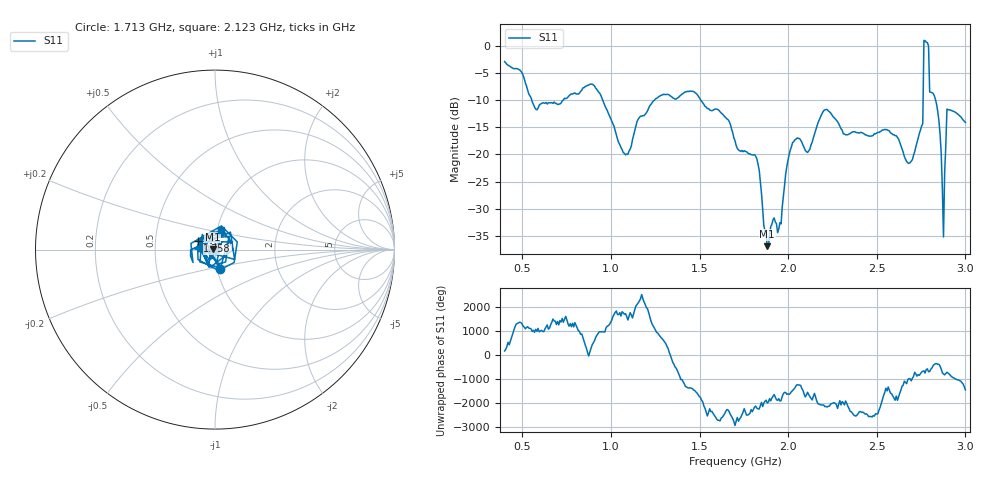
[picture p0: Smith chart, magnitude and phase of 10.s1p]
!Created with skrf (http://scikit-rf.org).
# Hz S RI R 50.0
!freq ReS11 ImS11
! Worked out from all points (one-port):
!   401 points, 400 MHz to 3 GHz, reference 50 ohm
!   lowest |S11| = -36.9 dB at 1.882 GHz (marker M1), VSWR 1.03, Z = 48.6 + j0.338 ohm
!   |S11| at or under -10 dB: 553.4 MHz to 729.4 MHz (176 MHz wide, 27.4 % of centre); 953.8 MHz to 1.244 GHz (290.6 MHz wide, 26.4 % of centre); 1.508 GHz to 2.761 GHz (1.254 GHz wide, 58.7 % of centre) (the widest 3 of 4)
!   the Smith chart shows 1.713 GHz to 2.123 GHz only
!   S11 on the Smith chart (normalised r, x): 1.713 GHz: 1.03, -0.23; 1.758 GHz: 0.82, +0.08; 2.123 GHz: 1.04, +0.23
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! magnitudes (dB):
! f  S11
! 400 MHz  -2.9
! 575.5 MHz  -11.6
! 725 MHz  -10.1
! 900.5 MHz  -7.2
! 1.05 GHz  -18.2
! 1.095 GHz  -20.0
! 1.258 GHz  -9.6
! 1.375 GHz  -9.6
! 1.472 GHz  -8.5
! 1.7 GHz  -17.5
! 1.713 GHz  -18.9
! 1.758 GHz  -19.4
! 1.823 GHz  -20.8
! 1.882 GHz  -36.9
! 1.954 GHz  -32.6
! 2.025 GHz  -17.8
! 2.123 GHz  -19.0
! 2.207 GHz  -11.8
! 2.35 GHz  -16.1
! 2.558 GHz  -15.4
! 2.675 GHz  -21.6
! 2.747 GHz  -15.5
! 2.779 GHz  0.7
! 2.844 GHz  -12.1
! 2.87 GHz  -26.3
! 2.883 GHz  -23.3
! 2.909 GHz  -11.7
! 3 GHz  -14.1
